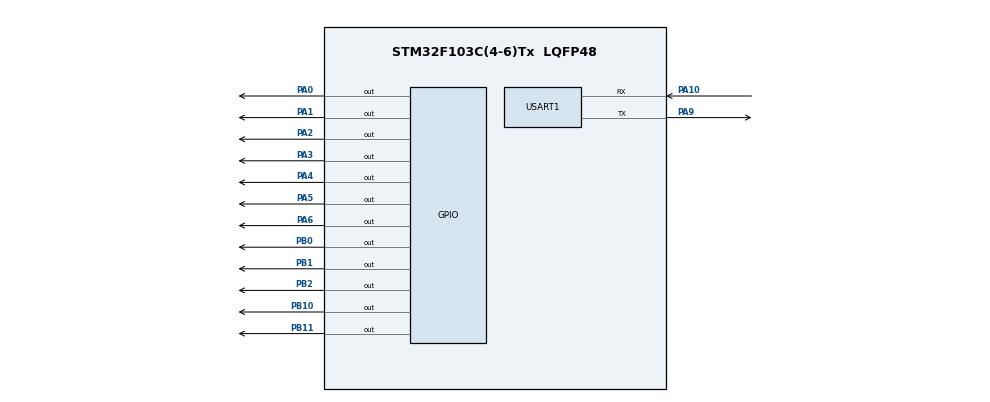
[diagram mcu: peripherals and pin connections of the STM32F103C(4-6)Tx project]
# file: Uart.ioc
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Mcu.Family=STM32F1
Mcu.Name=STM32F103C(4-6)Tx
Mcu.Package=LQFP48
NVIC.PriorityGroup=NVIC_PRIORITYGROUP_4
PA0-WKUP.Signal=GPIO_Output
PA1.Signal=GPIO_Output
PA10.Mode=Asynchronous
PA10.Signal=USART1_RX
PA13.Mode=Serial_Wire
PA13.Signal=SYS_JTMS-SWDIO
PA14.Mode=Serial_Wire
PA14.Signal=SYS_JTCK-SWCLK
PA2.Signal=GPIO_Output
PA3.Signal=GPIO_Output
PA4.Signal=GPIO_Output
PA5.Signal=GPIO_Output
PA6.Signal=GPIO_Output
PA9.Mode=Asynchronous
PA9.Signal=USART1_TX
PB0.Signal=GPIO_Output
PB1.Signal=GPIO_Output
PB10.Signal=GPIO_Output
PB11.Signal=GPIO_Output
PB2.Signal=GPIO_Output
ProjectManager.HeapSize=0x200
ProjectManager.StackSize=0x400
ProjectManager.TargetToolchain=STM32CubeIDE
RCC.APB1Freq_Value=8000000
RCC.APB2Freq_Value=8000000
USART1.VirtualMode=VM_ASYNC
board=custom

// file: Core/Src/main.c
/* USER CODE BEGIN Header */
/**
  ******************************************************************************
  * @file           : main.c
  * @brief          : Main program body
  ******************************************************************************
  * @attention
  *
  * Copyright (c) 2026 STMicroelectronics.
  * All rights reserved.
  *
  * This software is licensed under terms that can be found in the LICENSE file
  * in the root directory of this software component.
  * If no LICENSE file comes with this software, it is provided AS-IS.
  *
  ******************************************************************************
  */
/* USER CODE END Header */
#include "main.h"

/* USER CODE BEGIN Includes */
#include "stm32f1xx_hal_uart.h"
/* USER CODE END Includes */

UART_HandleTypeDef huart1;

/* USER CODE BEGIN PV */
uint8_t rx_data;   // received byte
uint8_t msg_f[] = "Forward\r\n";
uint8_t msg_r[] = "Right\r\n";
uint8_t msg_l[] = "Left\r\n";
uint8_t msg_b[] = "Reverse\r\n";
/* USER CODE END PV */

void SystemClock_Config(void);
static void MX_GPIO_Init(void);
static void MX_USART1_UART_Init(void);

void lcd_send_cmd(char cmd)
{
    HAL_GPIO_WritePin(GPIOA, RS_Pin, GPIO_PIN_RESET);

    HAL_GPIO_WritePin(GPIOA, D4_Pin, (cmd>>4)&1);
    HAL_GPIO_WritePin(GPIOA, D5_Pin, (cmd>>5)&1);
    HAL_GPIO_WritePin(GPIOA, D6_Pin, (cmd>>6)&1);
    HAL_GPIO_WritePin(GPIOA, D7_Pin, (cmd>>7)&1);

    HAL_GPIO_WritePin(GPIOA, EN_Pin, GPIO_PIN_SET);
    HAL_Delay(1);
    HAL_GPIO_WritePin(GPIOA, EN_Pin, GPIO_PIN_RESET);

    HAL_GPIO_WritePin(GPIOA, D4_Pin, cmd&1);
    HAL_GPIO_WritePin(GPIOA, D5_Pin, (cmd>>1)&1);
    HAL_GPIO_WritePin(GPIOA, D6_Pin, (cmd>>2)&1);
    HAL_GPIO_WritePin(GPIOA, D7_Pin, (cmd>>3)&1);

    HAL_GPIO_WritePin(GPIOA, EN_Pin, GPIO_PIN_SET);
    HAL_Delay(1);
    HAL_GPIO_WritePin(GPIOA, EN_Pin, GPIO_PIN_RESET);
}

void lcd_send_data(char data)
{
    HAL_GPIO_WritePin(GPIOA, RS_Pin, GPIO_PIN_SET);

    HAL_GPIO_WritePin(GPIOA, D4_Pin, (data>>4)&1);
    HAL_GPIO_WritePin(GPIOA, D5_Pin, (data>>5)&1);
    HAL_GPIO_WritePin(GPIOA, D6_Pin, (data>>6)&1);
    HAL_GPIO_WritePin(GPIOA, D7_Pin, (data>>7)&1);

    HAL_GPIO_WritePin(GPIOA, EN_Pin, GPIO_PIN_SET);
    HAL_Delay(1);
    HAL_GPIO_WritePin(GPIOA, EN_Pin, GPIO_PIN_RESET);

    HAL_GPIO_WritePin(GPIOA, D4_Pin, data&1);
    HAL_GPIO_WritePin(GPIOA, D5_Pin, (data>>1)&1);
    HAL_GPIO_WritePin(GPIOA, D6_Pin, (data>>2)&1);
    HAL_GPIO_WritePin(GPIOA, D7_Pin, (data>>3)&1);

    HAL_GPIO_WritePin(GPIOA, EN_Pin, GPIO_PIN_SET);
    HAL_Delay(1);
    HAL_GPIO_WritePin(GPIOA, EN_Pin, GPIO_PIN_RESET);
}

	void lcd_init(void)
	{
	    HAL_Delay(50);
	    lcd_send_cmd(0x02);
	    HAL_Delay(5);
	    lcd_send_cmd(0x28);
	    HAL_Delay(1);
	    lcd_send_cmd(0x0C);
	    HAL_Delay(1);
	    lcd_send_cmd(0x06);
	    HAL_Delay(1);
	    lcd_send_cmd(0x01);
	    HAL_Delay(2);
	}

void lcd_send_string(char *str)
{
    while (*str) lcd_send_data(*str++);
}

void lcd_clear(void)
{
    lcd_send_cmd(0x01);
    HAL_Delay(2);
}

int main(void)
{

  /* MCU Configuration--------------------------------------------------------*/

  /* Reset of all peripherals, Initializes the Flash interface and the Systick. */
  HAL_Init();

  /* Configure the system clock */
  SystemClock_Config();

  /* Initialize all configured peripherals */
  MX_GPIO_Init();
  MX_USART1_UART_Init();
  /* USER CODE BEGIN 2 */
  lcd_init();
  /* USER CODE END 2 */
  lcd_send_string("Hello STM32");
  /* Infinite loop */
//	  lcd_send_string("Hello STM32");
  while (1)
   {
     /* USER CODE END WHILE */
 	       if(HAL_UART_Receive(&huart1, &rx_data, 1, 10) == HAL_OK)
 	       {
 	    	  switch(rx_data)
 	    	  {
 	    	      case 'F': // Forward
 	    	          HAL_GPIO_WritePin(GPIOB, GPIO_PIN_0, GPIO_PIN_SET);
 	    	          HAL_GPIO_WritePin(GPIOB, GPIO_PIN_1, GPIO_PIN_RESET);

 	    	          HAL_GPIO_WritePin(GPIOB, GPIO_PIN_11, GPIO_PIN_SET);
 	    	          HAL_GPIO_WritePin(GPIOB, GPIO_PIN_10, GPIO_PIN_RESET);

 	    	          lcd_clear();
 	    	          lcd_send_string("FORWARD");

 	    	          HAL_UART_Transmit(&huart1, (uint8_t*)"Forward\r\n", 9, 100);
 	    	          break;

 	    	      case 'B': // Reverse
 	    	          HAL_GPIO_WritePin(GPIOB, GPIO_PIN_0, GPIO_PIN_RESET);
 	    	          HAL_GPIO_WritePin(GPIOB, GPIO_PIN_1, GPIO_PIN_SET);

 	    	          HAL_GPIO_WritePin(GPIOB, GPIO_PIN_11, GPIO_PIN_RESET);
 	    	          HAL_GPIO_WritePin(GPIOB, GPIO_PIN_10, GPIO_PIN_SET);

 	    	          lcd_clear();
 	    	          lcd_send_string("REVERSE");

 	    	          HAL_UART_Transmit(&huart1, (uint8_t*)"Reverse\r\n", 9, 100);
 	    	          break;

 	    	      case 'L': // Left
 	    	          HAL_GPIO_WritePin(GPIOB, GPIO_PIN_0, GPIO_PIN_RESET);
 	    	          HAL_GPIO_WritePin(GPIOB, GPIO_PIN_1, GPIO_PIN_SET);

 	    	          HAL_GPIO_WritePin(GPIOB, GPIO_PIN_11, GPIO_PIN_SET);
 	    	          HAL_GPIO_WritePin(GPIOB, GPIO_PIN_10, GPIO_PIN_RESET);

 	    	          lcd_clear();
 	    	          lcd_send_string("LEFT");

 	    	          HAL_UART_Transmit(&huart1, (uint8_t*)"Left\r\n", 6, 100);
 	    	          break;

 	    	      case 'R': // Right
 	    	          HAL_GPIO_WritePin(GPIOB, GPIO_PIN_0, GPIO_PIN_SET);
 	    	          HAL_GPIO_WritePin(GPIOB, GPIO_PIN_1, GPIO_PIN_RESET);

 	    	          HAL_GPIO_WritePin(GPIOB, GPIO_PIN_11, GPIO_PIN_RESET);
 	    	          HAL_GPIO_WritePin(GPIOB, GPIO_PIN_10, GPIO_PIN_SET);

 	    	          lcd_clear();
 	    	          lcd_send_string("RIGHT");

 	    	          HAL_UART_Transmit(&huart1, (uint8_t*)"Right\r\n", 7, 100);
 	    	          break;

 	    	      case 'S': // Stop
 	    	          HAL_GPIO_WritePin(GPIOB, GPIO_PIN_0|GPIO_PIN_1|GPIO_PIN_11|GPIO_PIN_10, GPIO_PIN_RESET);

 	    	          lcd_clear();
 	    	          lcd_send_string("STOP");

 	    	          HAL_UART_Transmit(&huart1, (uint8_t*)"Stop\r\n", 6, 100);
 	    	          break;
 	    	  }
 	       }
 	   }
}

void SystemClock_Config(void)
{
  RCC_OscInitTypeDef RCC_OscInitStruct = {0};
  RCC_ClkInitTypeDef RCC_ClkInitStruct = {0};

  /** Initializes the RCC Oscillators according to the specified parameters
  * in the RCC_OscInitTypeDef structure.
  */
  RCC_OscInitStruct.OscillatorType = RCC_OSCILLATORTYPE_HSI;
  RCC_OscInitStruct.HSIState = RCC_HSI_ON;
  RCC_OscInitStruct.HSICalibrationValue = RCC_HSICALIBRATION_DEFAULT;
  RCC_OscInitStruct.PLL.PLLState = RCC_PLL_NONE;
  if (HAL_RCC_OscConfig(&RCC_OscInitStruct) != HAL_OK)
  {
    Error_Handler();
  }

  /** Initializes the CPU, AHB and APB buses clocks
  */
  RCC_ClkInitStruct.ClockType = RCC_CLOCKTYPE_HCLK|RCC_CLOCKTYPE_SYSCLK
                              |RCC_CLOCKTYPE_PCLK1|RCC_CLOCKTYPE_PCLK2;
  RCC_ClkInitStruct.SYSCLKSource = RCC_SYSCLKSOURCE_HSI;
  RCC_ClkInitStruct.AHBCLKDivider = RCC_SYSCLK_DIV1;
  RCC_ClkInitStruct.APB1CLKDivider = RCC_HCLK_DIV1;
  RCC_ClkInitStruct.APB2CLKDivider = RCC_HCLK_DIV1;

  if (HAL_RCC_ClockConfig(&RCC_ClkInitStruct, FLASH_LATENCY_0) != HAL_OK)
  {
    Error_Handler();
  }
}

static void MX_USART1_UART_Init(void)
{

  /* USER CODE BEGIN USART1_Init 1 */

	__HAL_RCC_USART1_CLK_ENABLE();

  huart1.Instance = USART1;
  huart1.Init.BaudRate = 38400;
  huart1.Init.WordLength = UART_WORDLENGTH_8B;
  huart1.Init.StopBits = UART_STOPBITS_1;
  huart1.Init.Parity = UART_PARITY_NONE;
  huart1.Init.Mode = UART_MODE_TX_RX;
  huart1.Init.HwFlowCtl = UART_HWCONTROL_NONE;
  huart1.Init.OverSampling = UART_OVERSAMPLING_16;
  if (HAL_UART_Init(&huart1) != HAL_OK)
  {
    Error_Handler();
  }
  /* USER CODE END USART1_Init 1 */

}

static void MX_GPIO_Init(void)
{
  GPIO_InitTypeDef GPIO_InitStruct = {0};

  /* GPIO Ports Clock Enable */
  __HAL_RCC_GPIOA_CLK_ENABLE();
  __HAL_RCC_GPIOB_CLK_ENABLE();

  /*Configure GPIO pin Output Level */
  HAL_GPIO_WritePin(GPIOA, GPIO_PIN_0|GPIO_PIN_1|GPIO_PIN_2|GPIO_PIN_3
                          |GPIO_PIN_4|GPIO_PIN_5|GPIO_PIN_6, GPIO_PIN_RESET);

  /*Configure GPIO pin Output Level */
  HAL_GPIO_WritePin(GPIOB, GPIO_PIN_0|GPIO_PIN_1|GPIO_PIN_2|GPIO_PIN_10
                          |GPIO_PIN_11, GPIO_PIN_RESET);

  /*Configure GPIO pins : PA0 PA1 PA2 PA3
                           PA4 PA5 PA6 */
  GPIO_InitStruct.Pin = GPIO_PIN_0|GPIO_PIN_1|GPIO_PIN_2|GPIO_PIN_3
                          |GPIO_PIN_4|GPIO_PIN_5|GPIO_PIN_6;
  GPIO_InitStruct.Mode = GPIO_MODE_OUTPUT_PP;
  GPIO_InitStruct.Pull = GPIO_NOPULL;
  GPIO_InitStruct.Speed = GPIO_SPEED_FREQ_LOW;
  HAL_GPIO_Init(GPIOA, &GPIO_InitStruct);

  /*Configure GPIO pins : PB0 PB1 PB2 PB10
                           PB11 */
  GPIO_InitStruct.Pin = GPIO_PIN_0|GPIO_PIN_1|GPIO_PIN_2|GPIO_PIN_10
                          |GPIO_PIN_11;
  GPIO_InitStruct.Mode = GPIO_MODE_OUTPUT_PP;
  GPIO_InitStruct.Pull = GPIO_NOPULL;
  GPIO_InitStruct.Speed = GPIO_SPEED_FREQ_LOW;
  HAL_GPIO_Init(GPIOB, &GPIO_InitStruct);

}

void Error_Handler(void)
{
  __disable_irq();
  while (1)
  {
  }
}
